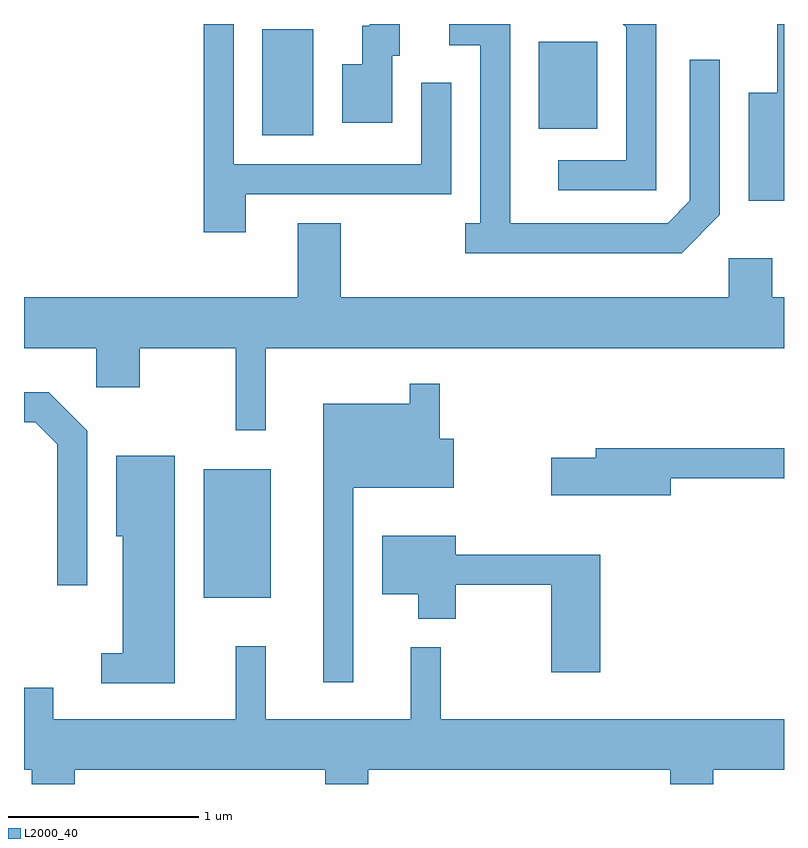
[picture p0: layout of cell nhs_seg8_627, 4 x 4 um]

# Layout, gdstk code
import gdstk
lib = gdstk.Library(unit=1e-6, precision=1e-09)
def R(c, l, rs):  # rectangles x0, y0, x1, y1
    for r in rs: c.add(gdstk.rectangle(r[:2], r[2:], *l))
def P(c, l, *ps):  # polygons
    for p in ps: c.add(gdstk.Polygon(p, *l))
L2000_40 = (2000, 40)

nhs_seg8_627 = lib.new_cell('nhs_seg8_627')
R(nhs_seg8_627, L2000_40, [(204.556,1837.321,204.909,1837.999), (204.866,1839.756,205.134,1840.314), (206.321,1839.791,206.629,1840.249)])
P(nhs_seg8_627, L2000_40, [(207.274,1839.339),(207.274,1840.153),(207.116,1840.153),(207.116,1839.412),(206.999,1839.294),(206.169,1839.294),(206.169,1840.342),(205.848,1840.342),(205.848,1840.231),(206.011,1840.231),(206.011,1839.294),(205.933,1839.294),(205.933,1839.136),(207.072,1839.136)],
  [(207.611,1840.342),(207.576,1840.342),(207.576,1839.979),(207.426,1839.979),(207.426,1839.411),(207.611,1839.411)],
  [(204.779,1839.446),(205.859,1839.446),(205.859,1840.033),(205.701,1840.033),(205.701,1839.604),(204.714,1839.604),(204.714,1840.342),(204.556,1840.342),(204.556,1839.246),(204.779,1839.246)],
  [(206.939,1840.342),(206.763,1840.342),(206.781,1840.324),(206.781,1839.624),(206.423,1839.624),(206.423,1839.466),(206.939,1839.466)],
  [(205.549,1840.176),(205.589,1840.176),(205.589,1840.342),(205.431,1840.342),(205.431,1840.334),(205.391,1840.334),(205.391,1840.129),(205.286,1840.129),(205.286,1839.821),(205.549,1839.821)],
  [(204.884,1838.636),(207.611,1838.636),(207.611,1838.904),(207.549,1838.904),(207.549,1839.109),(207.321,1839.109),(207.321,1838.904),(205.279,1838.904),(205.279,1839.294),(205.051,1839.294),(205.051,1838.904),(203.611,1838.904),(203.611,1838.636),(203.991,1838.636),(203.991,1838.431),(204.219,1838.431),(204.219,1838.636),(204.726,1838.636),(204.726,1838.203),(204.884,1838.203)],
  [(205.344,1837.901),(205.874,1837.901),(205.874,1838.159),(205.799,1838.159),(205.799,1838.448),(205.641,1838.448),(205.641,1838.344),(205.186,1838.344),(205.186,1836.878),(205.344,1836.878)],
  [(203.944,1838.202),(203.742,1838.404),(203.611,1838.404),(203.611,1838.246),(203.669,1838.246),(203.786,1838.129),(203.786,1837.388),(203.944,1837.388)],
  [(207.014,1837.951),(207.611,1837.951),(207.611,1838.109),(206.621,1838.109),(206.621,1838.059),(206.386,1838.059),(206.386,1837.861),(207.014,1837.861)],
  [(204.404,1838.069),(204.096,1838.069),(204.096,1837.646),(204.131,1837.646),(204.131,1837.029),(204.018,1837.029),(204.018,1836.871),(204.404,1836.871)],
  [(206.644,1837.549),(205.884,1837.549),(205.884,1837.649),(205.496,1837.649),(205.496,1837.341),(205.686,1837.341),(205.686,1837.211),(205.884,1837.211),(205.884,1837.391),(206.386,1837.391),(206.386,1836.931),(206.644,1836.931)],
  [(203.879,1836.416),(205.196,1836.416),(205.196,1836.342),(205.424,1836.342),(205.424,1836.416),(207.011,1836.416),(207.011,1836.342),(207.239,1836.342),(207.239,1836.416),(207.611,1836.416),(207.611,1836.684),(205.804,1836.684),(205.804,1837.063),(205.646,1837.063),(205.646,1836.684),(204.884,1836.684),(204.884,1837.068),(204.726,1837.068),(204.726,1836.684),(203.764,1836.684),(203.764,1836.849),(203.611,1836.849),(203.611,1836.416),(203.651,1836.416),(203.651,1836.342),(203.879,1836.342)])

lib.write_gds('nhs_seg8_627.gds')
